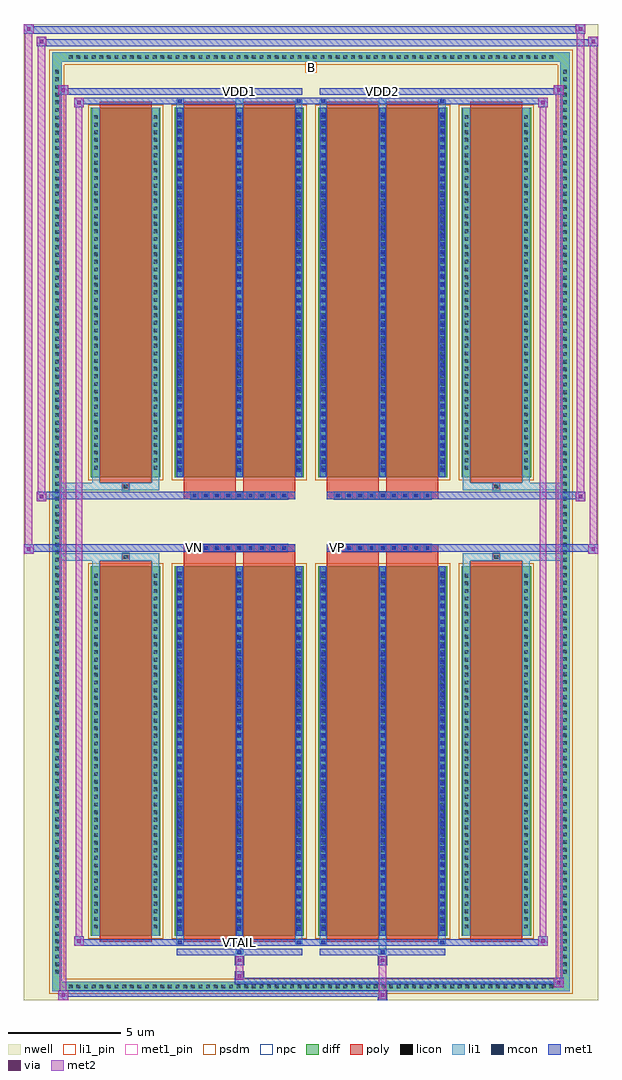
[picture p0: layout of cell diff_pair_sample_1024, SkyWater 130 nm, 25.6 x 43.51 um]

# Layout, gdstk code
import gdstk
lib = gdstk.Library(unit=1e-6, precision=5e-09)
def R(c, l, rs):  # rectangles x0, y0, x1, y1
    for r in rs: c.add(gdstk.rectangle(r[:2], r[2:], *l))
def A(c, l, x, y, w, h, nx, ny, dx, dy):  # array of equal rectangles
    R(c, l, [(x+i*dx, y+j*dy, x+i*dx+w, y+j*dy+h) for i in range(nx) for j in range(ny)])
def P(c, l, *ps):  # polygons
    for p in ps: c.add(gdstk.Polygon(p, *l))
nwell = (64, 20)
diff = (65, 20)
poly = (66, 20)
licon = (66, 44)
li1_pin = (67, 16)
li1 = (67, 20)
mcon = (67, 44)
met1_pin = (68, 16)
met1 = (68, 20)
via = (68, 44)
met2 = (69, 20)
psdm = (94, 20)
npc = (95, 20)

diff_pair_sample_1024 = lib.new_cell('diff_pair_sample_1024')
R(diff_pair_sample_1024, nwell, [(-12.8,-21.32,12.8,22.19), (-10.12,-19.51,-0.01,-0.805), (0.01,-19.51,10.12,-0.805), (-10.12,0.805,-0.01,19.51), (0.01,0.805,10.12,19.51)])
A(diff_pair_sample_1024, diff, -10.915, -20.92, 0.41, 0.41, 64, 2, 0.34, 41.43)
A(diff_pair_sample_1024, diff, -11.53, -20.265, 0.41, 0.41, 1, 119, 0, 0.34)
A(diff_pair_sample_1024, diff, 11.12, -20.265, 0.41, 0.41, 1, 119, 0, 0.34)
R(diff_pair_sample_1024, diff, [(-10.915,-20.92,10.915,-20.51), (-11.53,-20.265,-11.12,20.265), (11.12,-20.265,11.53,20.265), (-9.81,-18.465,-6.71,-1.985), (-6.07,-18.465,-0.32,-1.985), (0.32,-18.465,6.07,-1.985), (6.71,-18.465,9.81,-1.985), (-9.81,1.985,-6.71,18.465), (-6.07,1.985,-0.32,18.465), (0.32,1.985,6.07,18.465), (6.71,1.985,9.81,18.465), (-10.915,20.51,10.915,20.92)])
P(diff_pair_sample_1024, diff, [(11.53,20.92),(-11.53,20.92),(-11.53,-20.51),(-11.12,-20.51),(-11.12,20.51),(11.12,20.51),(11.12,-20.51),(-11.12,-20.51),(-11.53,-20.51),(-11.53,-20.92),(11.53,-20.92)])
A(diff_pair_sample_1024, poly, -5.36, -1.335, 0.33, 0.33, 9, 2, 0.5, 2.34)
A(diff_pair_sample_1024, poly, 1.03, -1.335, 0.33, 0.33, 9, 2, 0.5, 2.34)
R(diff_pair_sample_1024, poly, [(-9.42,-18.715,-7.1,-1.735), (-5.68,-18.715,-3.36,-1.735), (-3.03,-18.715,-0.71,-1.735), (0.71,-18.715,3.03,-1.735), (3.36,-18.715,5.68,-1.735), (7.1,-18.715,9.42,-1.735), (-8.425,-1.735,-8.095,-1.405), (-8.425,-1.735,-8.095,-1.405), (-5.68,-1.735,-3.36,-1.335), (-3.03,-1.735,-0.71,-1.335), (0.71,-1.735,3.03,-1.335), (3.36,-1.735,5.68,-1.335), (8.095,-1.735,8.425,-1.405), (8.095,-1.735,8.425,-1.405), (-5.68,-1.335,-0.71,-1.005), (0.71,-1.335,5.68,-1.005), (-5.68,1.005,-0.71,1.335), (0.71,1.005,5.68,1.335), (-5.68,1.335,-3.36,1.735), (-3.03,1.335,-0.71,1.735), (0.71,1.335,3.03,1.735), (3.36,1.335,5.68,1.735), (-8.425,1.405,-8.095,1.735), (-8.425,1.405,-8.095,1.735), (8.095,1.405,8.425,1.735), (8.095,1.405,8.425,1.735), (-9.42,1.735,-7.1,18.715), (-5.68,1.735,-3.36,18.715), (-3.03,1.735,-0.71,18.715), (0.71,1.735,3.03,18.715), (3.36,1.735,5.68,18.715), (7.1,1.735,9.42,18.715)])
A(diff_pair_sample_1024, licon, -10.795, -20.8, 0.17, 0.17, 64, 2, 0.34, 41.43)
A(diff_pair_sample_1024, licon, -11.41, -20.145, 0.17, 0.17, 1, 119, 0, 0.34)
A(diff_pair_sample_1024, licon, 11.24, -20.145, 0.17, 0.17, 1, 119, 0, 0.34)
A(diff_pair_sample_1024, licon, -9.67, -18.13, 0.17, 0.17, 1, 47, 0, 0.34)
A(diff_pair_sample_1024, licon, -7.02, -18.13, 0.17, 0.17, 1, 47, 0, 0.34)
A(diff_pair_sample_1024, licon, -5.93, -18.13, 0.17, 0.17, 3, 47, 2.65, 0.34)
A(diff_pair_sample_1024, licon, 0.46, -18.13, 0.17, 0.17, 3, 47, 2.65, 0.34)
A(diff_pair_sample_1024, licon, 6.85, -18.13, 0.17, 0.17, 1, 47, 0, 0.34)
A(diff_pair_sample_1024, licon, 9.5, -18.13, 0.17, 0.17, 1, 47, 0, 0.34)
A(diff_pair_sample_1024, licon, -5.28, -1.255, 0.17, 0.17, 9, 2, 0.5, 2.34)
A(diff_pair_sample_1024, licon, 1.11, -1.255, 0.17, 0.17, 9, 2, 0.5, 2.34)
A(diff_pair_sample_1024, licon, -9.67, 2.32, 0.17, 0.17, 1, 47, 0, 0.34)
A(diff_pair_sample_1024, licon, -7.02, 2.32, 0.17, 0.17, 1, 47, 0, 0.34)
A(diff_pair_sample_1024, licon, -5.93, 2.32, 0.17, 0.17, 3, 47, 2.65, 0.34)
A(diff_pair_sample_1024, licon, 0.46, 2.32, 0.17, 0.17, 3, 47, 2.65, 0.34)
A(diff_pair_sample_1024, licon, 6.85, 2.32, 0.17, 0.17, 1, 47, 0, 0.34)
A(diff_pair_sample_1024, licon, 9.5, 2.32, 0.17, 0.17, 1, 47, 0, 0.34)
R(diff_pair_sample_1024, licon, [(-8.345,-1.655,-8.175,-1.485), (8.175,-1.655,8.345,-1.485), (-8.345,1.485,-8.175,1.655), (8.175,1.485,8.345,1.655)])
R(diff_pair_sample_1024, li1_pin, [(-0.25,20.01,0.25,20.51)])
A(diff_pair_sample_1024, li1, -10.875, -20.88, 0.33, 0.33, 64, 2, 0.34, 41.43)
A(diff_pair_sample_1024, li1, -11.49, -20.225, 0.33, 0.33, 1, 119, 0, 0.34)
A(diff_pair_sample_1024, li1, 11.16, -20.225, 0.33, 0.33, 1, 119, 0, 0.34)
A(diff_pair_sample_1024, li1, -6.01, -18.465, 0.33, 16.48, 3, 2, 2.65, 20.45)
A(diff_pair_sample_1024, li1, 0.38, -18.465, 0.33, 16.48, 3, 2, 2.65, 20.45)
A(diff_pair_sample_1024, li1, -5.93, -18.23, 0.17, 0.17, 3, 45, 2.65, 0.36)
A(diff_pair_sample_1024, li1, -5.93, -18.23, 0.17, 16.01, 3, 2, 2.65, 20.45)
A(diff_pair_sample_1024, li1, 0.46, -18.23, 0.17, 0.17, 3, 45, 2.65, 0.36)
A(diff_pair_sample_1024, li1, 0.46, -18.23, 0.17, 16.01, 3, 2, 2.65, 20.45)
A(diff_pair_sample_1024, li1, -9.75, -18.21, 0.33, 0.33, 1, 47, 0, 0.34)
A(diff_pair_sample_1024, li1, -7.1, -18.21, 0.33, 0.33, 1, 47, 0, 0.34)
A(diff_pair_sample_1024, li1, -6.01, -18.21, 0.33, 0.33, 3, 47, 2.65, 0.34)
A(diff_pair_sample_1024, li1, 0.38, -18.21, 0.33, 0.33, 3, 47, 2.65, 0.34)
A(diff_pair_sample_1024, li1, 6.77, -18.21, 0.33, 0.33, 1, 47, 0, 0.34)
A(diff_pair_sample_1024, li1, 9.42, -18.21, 0.33, 0.33, 1, 47, 0, 0.34)
A(diff_pair_sample_1024, li1, -5.36, -1.335, 0.33, 0.33, 9, 2, 0.5, 2.34)
A(diff_pair_sample_1024, li1, 1.03, -1.335, 0.33, 0.33, 9, 2, 0.5, 2.34)
A(diff_pair_sample_1024, li1, -5.93, 2.22, 0.17, 0.17, 3, 45, 2.65, 0.36)
A(diff_pair_sample_1024, li1, 0.46, 2.22, 0.17, 0.17, 3, 45, 2.65, 0.36)
A(diff_pair_sample_1024, li1, -9.75, 2.24, 0.33, 0.33, 1, 47, 0, 0.34)
A(diff_pair_sample_1024, li1, -7.1, 2.24, 0.33, 0.33, 1, 47, 0, 0.34)
A(diff_pair_sample_1024, li1, -6.01, 2.24, 0.33, 0.33, 3, 47, 2.65, 0.34)
A(diff_pair_sample_1024, li1, 0.38, 2.24, 0.33, 0.33, 3, 47, 2.65, 0.34)
A(diff_pair_sample_1024, li1, 6.77, 2.24, 0.33, 0.33, 1, 47, 0, 0.34)
A(diff_pair_sample_1024, li1, 9.42, 2.24, 0.33, 0.33, 1, 47, 0, 0.34)
R(diff_pair_sample_1024, li1, [(-11.53,-20.92,-11.12,-20.51), (-11.53,-20.92,-11.12,-20.51), (-11.12,-20.92,11.12,-20.51), (11.12,-20.92,11.53,-20.51), (11.12,-20.92,11.53,-20.51), (-11.53,-20.51,-11.12,20.51), (11.12,-20.51,11.53,20.51), (-3.36,-19.27,-3.03,-18.465), (-3.28,-19.27,-3.11,-19.1), (3.03,-19.27,3.36,-18.465), (3.11,-19.27,3.28,-19.1), (-6.01,-18.84,-5.68,-18.465), (-5.93,-18.84,-5.76,-18.67), (-0.71,-18.84,-0.38,-18.465), (-0.63,-18.84,-0.46,-18.67), (0.38,-18.84,0.71,-18.465), (0.46,-18.84,0.63,-18.67), (5.68,-18.84,6.01,-18.465), (5.76,-18.84,5.93,-18.67), (-9.75,-18.465,-9.42,-1.985), (-7.1,-18.465,-6.77,-1.985), (6.77,-18.465,7.1,-1.985), (9.42,-18.465,9.75,-1.985), (-9.75,-1.985,-9.42,-1.405), (-7.1,-1.985,-6.77,-1.405), (6.77,-1.985,7.1,-1.405), (9.42,-1.985,9.75,-1.405), (-11.53,-1.735,-8.425,-1.405), (-9.75,-1.735,-8.425,-1.405), (-8.425,-1.735,-8.095,-1.405), (-8.095,-1.735,-6.77,-1.405), (6.77,-1.735,8.095,-1.405), (8.095,-1.735,8.425,-1.405), (8.095,-1.735,11.53,-1.405), (8.425,-1.735,9.75,-1.405), (-11.53,1.405,-8.425,1.735), (-9.75,1.405,-8.425,1.735), (-9.75,1.405,-9.42,1.985), (-8.425,1.405,-8.095,1.735), (-8.095,1.405,-6.77,1.735), (-7.1,1.405,-6.77,1.985), (6.77,1.405,8.095,1.735), (6.77,1.405,7.1,1.985), (8.095,1.405,8.425,1.735), (8.095,1.405,11.53,1.735), (8.425,1.405,9.75,1.735), (9.42,1.405,9.75,1.985), (-9.75,1.985,-9.42,18.465), (-7.1,1.985,-6.77,18.465), (6.77,1.985,7.1,18.465), (9.42,1.985,9.75,18.465), (-6.01,18.465,-5.68,18.84), (-3.36,18.465,-3.03,19.27), (-0.71,18.465,-0.38,18.84), (0.38,18.465,0.71,18.84), (3.03,18.465,3.36,19.27), (5.68,18.465,6.01,18.84), (-5.93,18.67,-5.76,18.84), (-0.63,18.67,-0.46,18.84), (0.46,18.67,0.63,18.84), (5.76,18.67,5.93,18.84), (-3.28,19.1,-3.11,19.27), (3.11,19.1,3.28,19.27), (-11.53,20.51,-11.12,20.92), (-11.53,20.51,-11.12,20.92), (-11.12,20.51,11.12,20.92), (11.12,20.51,11.53,20.92), (11.12,20.51,11.53,20.92)])
A(diff_pair_sample_1024, mcon, -5.93, -18.23, 0.17, 0.17, 3, 45, 2.65, 0.36)
A(diff_pair_sample_1024, mcon, 0.46, -18.23, 0.17, 0.17, 3, 45, 2.65, 0.36)
A(diff_pair_sample_1024, mcon, -5.28, -1.255, 0.17, 0.17, 9, 2, 0.5, 2.34)
A(diff_pair_sample_1024, mcon, 1.11, -1.255, 0.17, 0.17, 9, 2, 0.5, 2.34)
A(diff_pair_sample_1024, mcon, -5.93, 2.22, 0.17, 0.17, 3, 45, 2.65, 0.36)
A(diff_pair_sample_1024, mcon, 0.46, 2.22, 0.17, 0.17, 3, 45, 2.65, 0.36)
R(diff_pair_sample_1024, mcon, [(-3.28,-19.27,-3.11,-19.1), (3.11,-19.27,3.28,-19.1), (-5.93,-18.84,-5.76,-18.67), (-0.63,-18.84,-0.46,-18.67), (0.46,-18.84,0.63,-18.67), (5.76,-18.84,5.93,-18.67), (-5.93,18.67,-5.76,18.84), (-0.63,18.67,-0.46,18.84), (0.46,18.67,0.63,18.84), (5.76,18.67,5.93,18.84), (-3.28,19.1,-3.11,19.27), (3.11,19.1,3.28,19.27)])
R(diff_pair_sample_1024, met1_pin, [(-3.33,-18.88,-3.06,-18.61), (-5.33,-1.295,-5.06,-1.025), (1.06,-1.295,1.33,-1.025), (-3.33,19.06,-3.06,19.33), (3.06,19.06,3.33,19.33)])
A(diff_pair_sample_1024, met1, -5.99, -18.465, 0.29, 16.48, 3, 2, 2.65, 20.45)
A(diff_pair_sample_1024, met1, 0.4, -18.465, 0.29, 16.48, 3, 2, 2.65, 20.45)
A(diff_pair_sample_1024, met1, -5.99, -18.29, 0.29, 0.29, 3, 45, 2.65, 0.36)
A(diff_pair_sample_1024, met1, 0.4, -18.29, 0.29, 0.29, 3, 45, 2.65, 0.36)
A(diff_pair_sample_1024, met1, -5.34, -1.315, 0.29, 0.29, 9, 2, 0.5, 2.34)
A(diff_pair_sample_1024, met1, 1.05, -1.315, 0.29, 0.29, 9, 2, 0.5, 2.34)
A(diff_pair_sample_1024, met1, -5.99, 2.16, 0.29, 0.29, 3, 45, 2.65, 0.36)
A(diff_pair_sample_1024, met1, 0.4, 2.16, 0.29, 0.29, 3, 45, 2.65, 0.36)
R(diff_pair_sample_1024, met1, [(-11.26,-21.32,-10.83,-20.89), (2.98,-21.32,3.41,-20.89), (-11.26,-21.18,3.41,-20.89), (10.83,-20.75,11.26,-20.32), (-3.41,-20.61,11.26,-20.32), (-3.41,-20.47,-2.98,-20.04), (-3.41,-19.76,-2.98,-19.33), (2.98,-19.76,3.41,-19.33), (-5.99,-19.33,-0.4,-19.04), (-3.34,-19.33,-3.05,-19.04), (0.4,-19.33,5.99,-19.04), (3.05,-19.33,3.34,-19.04), (-10.55,-18.9,-10.12,-18.47), (-10.55,-18.9,-5.99,-18.61), (-5.99,-18.9,-5.7,-18.61), (-5.99,-18.9,-0.4,-18.61), (-0.69,-18.9,-0.4,-18.61), (-0.4,-18.9,0.4,-18.61), (0.4,-18.9,0.69,-18.61), (0.4,-18.9,5.99,-18.61), (5.7,-18.9,5.99,-18.61), (5.99,-18.9,10.55,-18.61), (10.12,-18.9,10.55,-18.47), (-12.8,-1.435,-12.37,-1.005), (12.37,-1.435,12.8,-1.005), (-12.8,-1.335,-0.71,-1.005), (-5.68,-1.335,-0.71,-1.005), (0.71,-1.335,5.68,-1.005), (0.71,-1.335,12.8,-1.005), (-12.23,0.905,-11.8,1.335), (11.8,0.905,12.23,1.335), (-12.23,1.005,-5.68,1.335), (-5.68,1.005,-0.71,1.335), (0.71,1.005,5.68,1.335), (5.68,1.005,12.23,1.335), (-10.55,18.47,-10.12,18.9), (10.12,18.47,10.55,18.9), (-10.55,18.61,-5.99,18.9), (-5.99,18.61,-5.7,18.9), (-5.99,18.61,-0.4,18.9), (-0.69,18.61,-0.4,18.9), (-0.4,18.61,0.4,18.9), (0.4,18.61,0.69,18.9), (0.4,18.61,5.99,18.9), (5.7,18.61,5.99,18.9), (5.99,18.61,10.55,18.9), (-11.26,19.04,-10.83,19.47), (-11.26,19.04,-5.99,19.33), (-5.99,19.04,-0.4,19.33), (-3.34,19.04,-3.05,19.33), (0.4,19.04,5.99,19.33), (3.05,19.04,3.34,19.33), (5.99,19.04,11.26,19.33), (10.83,19.04,11.26,19.47), (-12.23,21.19,-11.8,21.62), (-12.23,21.19,-10.12,21.52), (-10.12,21.19,10.12,21.52), (10.12,21.19,12.8,21.52), (12.37,21.19,12.8,21.62), (-12.8,21.76,-12.37,22.19), (-12.8,21.76,-10.12,22.09), (-10.12,21.76,10.12,22.09), (10.12,21.76,12.23,22.09), (11.8,21.76,12.23,22.19)])
R(diff_pair_sample_1024, via, [(-11.12,-21.18,-10.97,-21.03), (3.12,-21.18,3.27,-21.03), (10.97,-20.61,11.12,-20.46), (-3.27,-20.33,-3.12,-20.18), (-3.27,-19.62,-3.12,-19.47), (3.12,-19.62,3.27,-19.47), (-10.41,-18.76,-10.26,-18.61), (10.26,-18.76,10.41,-18.61), (-12.66,-1.295,-12.51,-1.145), (12.51,-1.295,12.66,-1.145), (-12.09,1.045,-11.94,1.195), (11.94,1.045,12.09,1.195), (-10.41,18.61,-10.26,18.76), (10.26,18.61,10.41,18.76), (-11.12,19.18,-10.97,19.33), (10.97,19.18,11.12,19.33), (-12.09,21.33,-11.94,21.48), (12.51,21.33,12.66,21.48), (-12.66,21.9,-12.51,22.05), (11.94,21.9,12.09,22.05)])
R(diff_pair_sample_1024, met2, [(-11.26,-21.32,-10.83,-20.89), (-11.19,-21.32,-10.9,19.47), (-10.9,-21.32,-10.83,-20.89), (-11.21,-21.27,-10.88,-20.94), (3.03,-21.27,3.36,-20.94), (3.03,-20.94,3.36,-19.71), (10.83,-20.75,11.26,-20.32), (10.9,-20.75,11.19,19.47), (11.19,-20.75,11.26,-20.32), (10.88,-20.7,11.21,-20.37), (-3.36,-20.42,-3.03,-20.09), (-3.36,-20.09,-3.03,-19.71), (-3.36,-19.71,-3.03,-19.38), (3.03,-19.71,3.36,-19.38), (-10.55,-18.9,-10.12,-18.47), (-10.48,-18.9,-10.19,18.9), (-10.19,-18.9,-10.12,-18.47), (10.12,-18.9,10.55,-18.47), (10.19,-18.9,10.48,18.9), (10.48,-18.9,10.55,-18.47), (-10.5,-18.85,-10.17,-18.52), (10.17,-18.85,10.5,-18.52), (-12.8,-1.435,-12.37,-1.005), (-12.75,-1.435,-12.42,22.19), (-12.42,-1.435,-12.37,-1.005), (12.37,-1.435,12.8,-1.005), (12.42,-1.435,12.75,21.62), (12.75,-1.435,12.8,-1.005), (-12.75,-1.385,-12.42,-1.055), (12.42,-1.385,12.75,-1.055), (-12.23,0.905,-11.8,1.335), (-12.18,0.905,-11.85,21.62), (-11.85,0.905,-11.8,1.335), (11.8,0.905,12.23,1.335), (11.85,0.905,12.18,22.19), (12.18,0.905,12.23,1.335), (-12.18,0.955,-11.85,1.285), (11.85,0.955,12.18,1.285), (-10.55,18.47,-10.12,18.9), (-10.19,18.47,-10.12,18.9), (10.12,18.47,10.55,18.9), (10.48,18.47,10.55,18.9), (-10.5,18.52,-10.17,18.85), (10.17,18.52,10.5,18.85), (-11.26,19.04,-10.83,19.47), (-10.9,19.04,-10.83,19.47), (10.83,19.04,11.26,19.47), (11.19,19.04,11.26,19.47), (-11.21,19.09,-10.88,19.42), (10.88,19.09,11.21,19.42), (-12.23,21.19,-11.8,21.62), (-11.85,21.19,-11.8,21.62), (12.37,21.19,12.8,21.62), (12.75,21.19,12.8,21.62), (-12.18,21.24,-11.85,21.57), (12.42,21.24,12.75,21.57), (-12.8,21.76,-12.37,22.19), (-12.42,21.76,-12.37,22.19), (11.8,21.76,12.23,22.19), (12.18,21.76,12.23,22.19), (-12.75,21.81,-12.42,22.14), (11.85,21.81,12.18,22.14)])
R(diff_pair_sample_1024, psdm, [(-9.94,-18.595,-6.58,-1.855), (-6.2,-18.595,-0.19,-1.855), (0.19,-18.595,6.2,-1.855), (6.58,-18.595,9.94,-1.855), (-9.94,1.855,-6.58,18.595), (-6.2,1.855,-0.19,18.595), (0.19,1.855,6.2,18.595), (6.58,1.855,9.94,18.595)])
P(diff_pair_sample_1024, psdm, [(11.66,21.05),(-11.66,21.05),(-11.66,-20.38),(-10.99,-20.38),(-10.99,20.38),(10.99,20.38),(10.99,-20.38),(-10.99,-20.38),(-11.66,-20.38),(-11.66,-21.05),(11.66,-21.05)])
A(diff_pair_sample_1024, npc, -5.38, -1.355, 0.37, 0.37, 9, 2, 0.5, 2.34)
A(diff_pair_sample_1024, npc, 1.01, -1.355, 0.37, 0.37, 9, 2, 0.5, 2.34)
R(diff_pair_sample_1024, npc, [(-8.445,-1.755,-8.075,-1.385), (8.075,-1.755,8.445,-1.385), (-5.38,-1.355,-4.51,-0.985), (-5.38,-1.355,-4.51,-0.985), (-4.88,-1.355,-4.01,-0.985), (-4.88,-1.355,-4.01,-0.985), (-4.38,-1.355,-3.51,-0.985), (-4.38,-1.355,-3.51,-0.985), (-3.88,-1.355,-3.01,-0.985), (-3.88,-1.355,-3.01,-0.985), (-3.38,-1.355,-2.51,-0.985), (-3.38,-1.355,-2.51,-0.985), (-2.88,-1.355,-2.01,-0.985), (-2.88,-1.355,-2.01,-0.985), (-2.38,-1.355,-1.51,-0.985), (-2.38,-1.355,-1.51,-0.985), (-1.88,-1.355,-1.01,-0.985), (-1.88,-1.355,-1.01,-0.985), (1.01,-1.355,1.88,-0.985), (1.01,-1.355,1.88,-0.985), (1.51,-1.355,2.38,-0.985), (1.51,-1.355,2.38,-0.985), (2.01,-1.355,2.88,-0.985), (2.01,-1.355,2.88,-0.985), (2.51,-1.355,3.38,-0.985), (2.51,-1.355,3.38,-0.985), (3.01,-1.355,3.88,-0.985), (3.01,-1.355,3.88,-0.985), (3.51,-1.355,4.38,-0.985), (3.51,-1.355,4.38,-0.985), (4.01,-1.355,4.88,-0.985), (4.01,-1.355,4.88,-0.985), (4.51,-1.355,5.38,-0.985), (4.51,-1.355,5.38,-0.985), (-5.38,0.985,-4.51,1.355), (-5.38,0.985,-4.51,1.355), (-4.88,0.985,-4.01,1.355), (-4.88,0.985,-4.01,1.355), (-4.38,0.985,-3.51,1.355), (-4.38,0.985,-3.51,1.355), (-3.88,0.985,-3.01,1.355), (-3.88,0.985,-3.01,1.355), (-3.38,0.985,-2.51,1.355), (-3.38,0.985,-2.51,1.355), (-2.88,0.985,-2.01,1.355), (-2.88,0.985,-2.01,1.355), (-2.38,0.985,-1.51,1.355), (-2.38,0.985,-1.51,1.355), (-1.88,0.985,-1.01,1.355), (-1.88,0.985,-1.01,1.355), (1.01,0.985,1.88,1.355), (1.01,0.985,1.88,1.355), (1.51,0.985,2.38,1.355), (1.51,0.985,2.38,1.355), (2.01,0.985,2.88,1.355), (2.01,0.985,2.88,1.355), (2.51,0.985,3.38,1.355), (2.51,0.985,3.38,1.355), (3.01,0.985,3.88,1.355), (3.01,0.985,3.88,1.355), (3.51,0.985,4.38,1.355), (3.51,0.985,4.38,1.355), (4.01,0.985,4.88,1.355), (4.01,0.985,4.88,1.355), (4.51,0.985,5.38,1.355), (4.51,0.985,5.38,1.355), (-8.445,1.385,-8.075,1.755), (8.075,1.385,8.445,1.755)])
diff_pair_sample_1024.add(gdstk.Label('VTAIL', (-3.195,-18.745), layer=68, texttype=5))
diff_pair_sample_1024.add(gdstk.Label('VN', (-5.195,-1.16), layer=68, texttype=5))
diff_pair_sample_1024.add(gdstk.Label('VP', (1.195,-1.16), layer=68, texttype=5))
diff_pair_sample_1024.add(gdstk.Label('B', (0,20.26), layer=67, texttype=5))
diff_pair_sample_1024.add(gdstk.Label('VDD2', (3.195,19.195), layer=68, texttype=5))
diff_pair_sample_1024.add(gdstk.Label('VDD1', (-3.195,19.195), layer=68, texttype=5))

lib.write_gds('diff_pair_sample_1024.gds')
